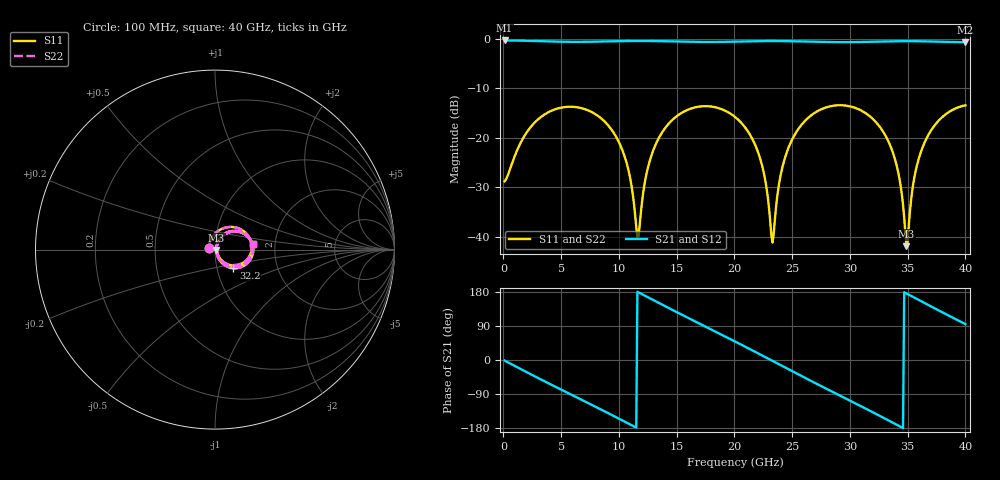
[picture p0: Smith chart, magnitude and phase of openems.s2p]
! thru_BV_ts_refinout2_out: 2×thru B.Cu, 8 mm
! stackup: as the board case
! ports: 1 near, 2 far
! openEMS 0.37.0, staircase, fine mesh (dfine 0.0175 mm), 630720 cells
# Hz S RI R 50
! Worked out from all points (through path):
!   400 points, 100 MHz to 40 GHz, reference 50 ohm
!   highest |S21| = -0.32 dB at 100 MHz (marker M1); lowest = -0.7 dB at 40 GHz (marker M2)
!   group delay of S21, straight-line fit = 43.4 ps
!   lowest |S11| = -41.9 dB at 34.9 GHz (marker M3), VSWR 1.02, Z = 50.8 - j0.167 ohm
!   |S11| at or under -10 dB: start of sweep to end of sweep
!   |S22| runs from -41.9 to -13.4 dB; largest |S21 - S12| = 0
!   S11 on the Smith chart (normalised r, x): 100 MHz: 0.93, +0.01; 32.2 GHz: 1.20, -0.25; 40 GHz: 1.53, +0.10
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1e8  -0.0357 0.00665  0.9636 -0.0269  0.9636 -0.0269  -0.0357 0.00665
3.6e9  0.1239 0.121  0.5171 -0.7907  0.5171 -0.7907  0.1239 0.121
6.8e9  0.1968 -0.0261  -0.2494 -0.8998  -0.2494 -0.8998  0.1968 -0.0261
1.02e10  0.0443 -0.0666  -0.8791 -0.3571  -0.8791 -0.3571  0.0443 -0.0666
1.1e10  0.0181 -0.0328  -0.9388 -0.1568  -0.9388 -0.1568  0.0181 -0.0328
1.16e10  0.00972 -0.00157  -0.9528 0.000533  -0.9528 0.000533  0.00972 -0.00157
1.24e10  0.0154 0.0411  -0.929 0.2099  -0.929 0.2099  0.0154 0.0411
1.34e10  0.0472 0.0843  -0.8337 0.4539  -0.8337 0.4539  0.0472 0.0843
1.68e10  0.2006 0.043  -0.1414 0.9216  -0.1414 0.9216  0.2006 0.043
2.01e10  0.1296 -0.0947  0.6258 0.6993  0.6258 0.6993  0.1296 -0.0947
2.23e10  0.0248 -0.0519  0.9226 0.2228  0.9226 0.2228  0.0248 -0.0519
2.33e10  0.0087 0.000496  0.9499 -0.0395  0.9499 -0.0395  0.0087 0.000496
2.44e10  0.0258 0.0585  0.8919 -0.324  0.8919 -0.324  0.0258 0.0585
2.67e10  0.1384 0.0992  0.5199 -0.7789  0.5199 -0.7789  0.1384 0.0992
2.94e10  0.2122 -0.0151  -0.1274 -0.9185  -0.1274 -0.9185  0.2122 -0.0151
3.22e10  0.1029 -0.1037  -0.7318 -0.5866  -0.7318 -0.5866  0.1029 -0.1037
3.34e10  0.0416 -0.0778  -0.8892 -0.3179  -0.8892 -0.3179  0.0416 -0.0778
3.43e10  0.0135 -0.0355  -0.9434 -0.0862  -0.9434 -0.0862  0.0135 -0.0355
3.49e10  0.00783 -0.00165  -0.9451 0.0736  -0.9451 0.0736  0.00783 -0.00165
3.55e10  0.0137 0.0322  -0.9187 0.2314  -0.9187 0.2314  0.0137 0.0322
3.64e10  0.0423 0.0748  -0.8288 0.4525  -0.8288 0.4525  0.0423 0.0748
4e10  0.2105 0.031  -0.0754 0.9211  -0.0754 0.9211  0.2105 0.031
